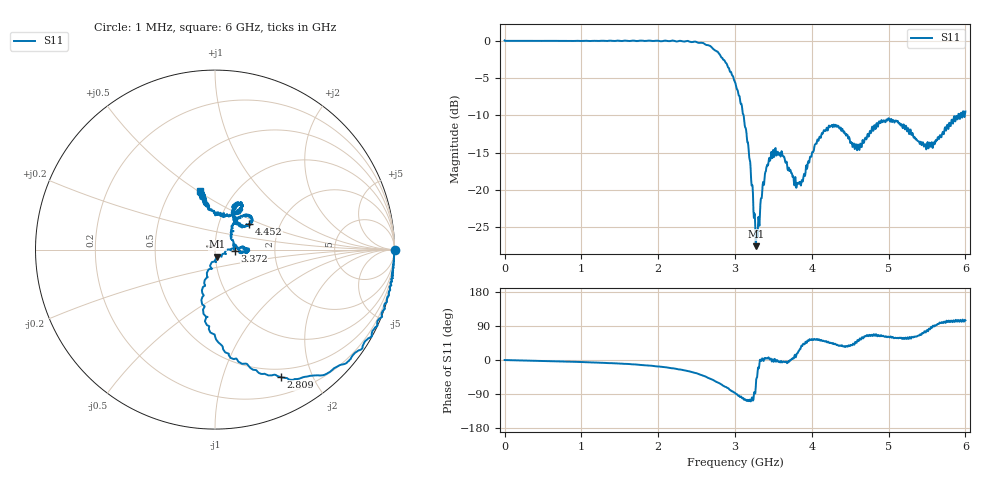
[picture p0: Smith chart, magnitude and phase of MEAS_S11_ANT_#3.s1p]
# GHZ S DB R 50.000000000000
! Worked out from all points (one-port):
!   1001 points, 1 MHz to 6 GHz, reference 50 ohm
!   lowest |S11| = -27.6 dB at 3.27 GHz (marker M1), VSWR 1.09, Z = 51.1 - j4.1 ohm
!   |S11| at or under -10 dB: 3.112 GHz to 5.908 GHz (2.796 GHz wide, 62 % of centre); 5.918832 GHz to 5.936298 GHz (17.47 MHz wide, 0.295 % of centre); 5.951575 GHz to 5.963132 GHz (11.56 MHz wide, 0.194 % of centre)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
!   S11 on the Smith chart (normalised r, x): 1 MHz: open; 2.809 GHz: 0.40, -1.57; 3.372 GHz: 1.25, -0.01; 4.452 GHz: 1.39, +0.42; 6 GHz: 0.69, +0.51
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0.001  0.04 -0.1
0.750875  -0.01 -3.7
1.50075  -0.01 -9.0
2.250625  -0.08 -24.1
2.574571  -0.29 -40.4
2.808532  -1.95 -62.7
3.0005  -5.55 -86.7
3.084486  -8.46 -97.5
3.144476  -11.94 -106.2
3.198467  -16.26 -106.8
3.270455  -27.55 -72.6
3.30045  -24.64 -19.9
3.372438  -19.21 -2.6
3.42043  -16.62 3.8
3.504416  -14.83 -4.8
3.618397  -15.32 -5.9
3.750375  -18.27 3.9
3.864356  -19.06 37.6
4.068322  -13.45 55.5
4.218297  -11.51 47.3
4.452258  -12.55 36.8
4.50025  -13.71 37.3
4.62023  -14.65 54.1
4.818197  -11.31 64.8
5.004166  -10.42 60.6
5.250125  -11.77 59.7
5.544076  -14.20 82.5
6  -9.49 104.7
